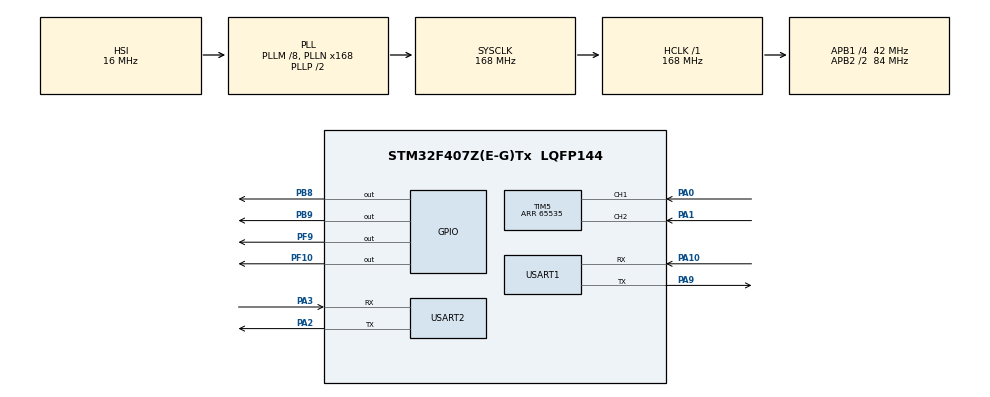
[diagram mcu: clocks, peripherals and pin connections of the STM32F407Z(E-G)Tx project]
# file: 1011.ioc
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Mcu.Family=STM32F4
Mcu.Name=STM32F407Z(E-G)Tx
Mcu.Package=LQFP144
NVIC.PriorityGroup=NVIC_PRIORITYGROUP_4
NVIC.TIM2_IRQn=true\:0\:0\:false\:false\:true\:true\:true\:true
NVIC.USART2_IRQn=true\:1\:0\:true\:false\:true\:true\:true\:true
PA0-WKUP.Signal=S_TIM5_CH1
PA1.Signal=S_TIM5_CH2
PA10.Mode=Asynchronous
PA10.Signal=USART1_RX
PA13.Mode=Serial_Wire
PA13.Signal=SYS_JTMS-SWDIO
PA14.Mode=Serial_Wire
PA14.Signal=SYS_JTCK-SWCLK
PA2.Mode=Asynchronous
PA2.Signal=USART2_TX
PA3.Mode=Asynchronous
PA3.Signal=USART2_RX
PA9.Mode=Asynchronous
PA9.Signal=USART1_TX
PB8.Signal=GPIO_Output
PB9.Signal=GPIO_Output
PF10.Signal=GPIO_Output
PF9.Signal=GPIO_Output
PH0-OSC_IN.Mode=HSE-External-Oscillator
PH0-OSC_IN.Signal=RCC_OSC_IN
PH1-OSC_OUT.Mode=HSE-External-Oscillator
PH1-OSC_OUT.Signal=RCC_OSC_OUT
ProjectManager.HeapSize=0x200
ProjectManager.StackSize=0x400
ProjectManager.TargetToolchain=MDK-ARM V5.32
RCC.48MHZClocksFreq_Value=84000000
RCC.AHBFreq_Value=168000000
RCC.APB1CLKDivider=RCC_HCLK_DIV4
RCC.APB1Freq_Value=42000000
RCC.APB1TimFreq_Value=84000000
RCC.APB2CLKDivider=RCC_HCLK_DIV2
RCC.APB2Freq_Value=84000000
RCC.APB2TimFreq_Value=168000000
RCC.CortexFreq_Value=168000000
RCC.HCLKFreq_Value=168000000
RCC.HSE_VALUE=25000000
RCC.HSI_VALUE=16000000
RCC.LSE_VALUE=32768
RCC.PLLM=8
RCC.PLLN=168
RCC.SYSCLKFreq_VALUE=168000000
RCC.SYSCLKSource=RCC_SYSCLKSOURCE_PLLCLK
RCC.VCOOutputFreq_Value=336000000
SH.S_TIM5_CH1.0=TIM5_CH1,Encoder_Interface
SH.S_TIM5_CH2.0=TIM5_CH2,Encoder_Interface
TIM2.AutoReloadPreload=TIM_AUTORELOAD_PRELOAD_ENABLE
TIM2.Period=10000-1
TIM2.Prescaler=84-1
TIM5.EncoderMode=TIM_ENCODERMODE_TI12
TIM5.IC1Filter=5
TIM5.IC2Filter=5
TIM5.Period=65535
USART1.VirtualMode=VM_ASYNC
USART2.VirtualMode=VM_ASYNC
VP_TIM2_VS_ClockSourceINT.Mode=Internal
board=custom

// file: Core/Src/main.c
/* USER CODE BEGIN Header */
/**
  ******************************************************************************
  * @file           : main.c
  * @brief          : Main program body
  ******************************************************************************
  * @attention
  *
  * Copyright (c) 2024 STMicroelectronics.
  * All rights reserved.
  *
  * This software is licensed under terms that can be found in the LICENSE file
  * in the root directory of this software component.
  * If no LICENSE file comes with this software, it is provided AS-IS.
  *
  ******************************************************************************
  */
/* USER CODE END Header */
#include "main.h"
#include "tim.h"
#include "usart.h"
#include "gpio.h"

/* USER CODE BEGIN Includes */
#include <stdio.h>
/* USER CODE END Includes */

void SystemClock_Config(void);

/* USER CODE BEGIN 0 */
int o=0;
int L=0;
int moto_L=0;
uint8_t buffer;
uint8_t head_1=0xA5,head_2=0x55,head_3=0X51;
double YAW=0,PITCH=0,ROLL=0;
int angle_flag;
/* USER CODE END 0 */

int main(void)
{

  /* MCU Configuration--------------------------------------------------------*/

  /* Reset of all peripherals, Initializes the Flash interface and the Systick. */
  HAL_Init();

  /* Configure the system clock */
  SystemClock_Config();

  /* Initialize all configured peripherals */
  MX_GPIO_Init();
  MX_TIM2_Init();
  MX_TIM5_Init();
  MX_USART1_UART_Init();
  MX_USART2_UART_Init();
  /* USER CODE BEGIN 2 */
	OLED_Init();
	HAL_TIM_Base_Start_IT(&htim2);
	HAL_TIM_Encoder_Start(&htim5,TIM_CHANNEL_ALL);
	HAL_UART_Transmit_IT(&huart2,&head_1,1);
	HAL_UART_Transmit_IT(&huart2,&head_2,1);
	HAL_UART_Receive_IT(&huart2,(uint8_t *)&buffer,1);
  /* USER CODE END 2 */

  /* Infinite loop */
  /* USER CODE BEGIN WHILE */
  while (1)
  {
		if(angle_flag==0)
		{
				HAL_UART_Transmit_IT(&huart2,&head_1,1);
				HAL_UART_Transmit_IT(&huart2,&head_3,1);

		}
		else if(angle_flag==1)
		{
			angle_flag=0;
			printf("%d",YAW);
		}

    /* USER CODE END WHILE */

  }
}

void SystemClock_Config(void)
{
  RCC_OscInitTypeDef RCC_OscInitStruct = {0};
  RCC_ClkInitTypeDef RCC_ClkInitStruct = {0};

  /** Configure the main internal regulator output voltage
  */
  __HAL_RCC_PWR_CLK_ENABLE();
  __HAL_PWR_VOLTAGESCALING_CONFIG(PWR_REGULATOR_VOLTAGE_SCALE1);

  /** Initializes the RCC Oscillators according to the specified parameters
  * in the RCC_OscInitTypeDef structure.
  */
  RCC_OscInitStruct.OscillatorType = RCC_OSCILLATORTYPE_HSI;
  RCC_OscInitStruct.HSIState = RCC_HSI_ON;
  RCC_OscInitStruct.HSICalibrationValue = RCC_HSICALIBRATION_DEFAULT;
  RCC_OscInitStruct.PLL.PLLState = RCC_PLL_ON;
  RCC_OscInitStruct.PLL.PLLSource = RCC_PLLSOURCE_HSI;
  RCC_OscInitStruct.PLL.PLLM = 8;
  RCC_OscInitStruct.PLL.PLLN = 168;
  RCC_OscInitStruct.PLL.PLLP = RCC_PLLP_DIV2;
  RCC_OscInitStruct.PLL.PLLQ = 4;
  if (HAL_RCC_OscConfig(&RCC_OscInitStruct) != HAL_OK)
  {
    Error_Handler();
  }

  /** Initializes the CPU, AHB and APB buses clocks
  */
  RCC_ClkInitStruct.ClockType = RCC_CLOCKTYPE_HCLK|RCC_CLOCKTYPE_SYSCLK
                              |RCC_CLOCKTYPE_PCLK1|RCC_CLOCKTYPE_PCLK2;
  RCC_ClkInitStruct.SYSCLKSource = RCC_SYSCLKSOURCE_PLLCLK;
  RCC_ClkInitStruct.AHBCLKDivider = RCC_SYSCLK_DIV1;
  RCC_ClkInitStruct.APB1CLKDivider = RCC_HCLK_DIV4;
  RCC_ClkInitStruct.APB2CLKDivider = RCC_HCLK_DIV2;

  if (HAL_RCC_ClockConfig(&RCC_ClkInitStruct, FLASH_LATENCY_5) != HAL_OK)
  {
    Error_Handler();
  }
}

/* USER CODE BEGIN 4 */
void HAL_UART_RxCpltCallback(UART_HandleTypeDef *huart)
{
	static uint8_t Serial_RxData[8]={0},count=0;
  if(huart==&huart2){
		Serial_RxData[count++]=buffer;
		if(Serial_RxData[0]!=0xAA)
		{
			Serial_RxData[0]=0;
			count=0;
		}
		if(count==8)
		{
			if(Serial_RxData[7]==0x55)
			{
				YAW=Serial_RxData[1]<<8|Serial_RxData[2];
				PITCH=Serial_RxData[3]<<8|Serial_RxData[4];
				ROLL=Serial_RxData[5]<<8|Serial_RxData[6];
				angle_flag=1;
			}
			count=0;
		}
	}
	HAL_UART_Receive_IT(&huart2,(uint8_t *)&buffer, 1);
}

void HAL_TIM_PeriodElapsedCallback(TIM_HandleTypeDef *htim)
{
    if (htim->Instance == TIM2)
		{

			o++;
			if(o>100)
			{
						HAL_GPIO_TogglePin(GPIOF,GPIO_PIN_10);
				HAL_GPIO_TogglePin(GPIOF,GPIO_PIN_9);
				o=0;
			}
			L=Read_Encoder(5);
			moto_L+=L;
		}
}
/* USER CODE END 4 */

void Error_Handler(void)
{
  __disable_irq();
  while (1)
  {
  }
}
